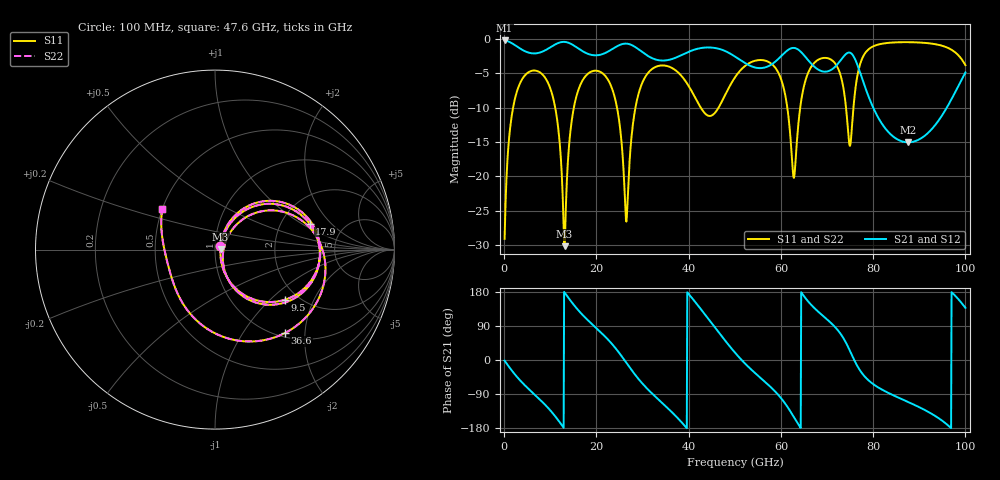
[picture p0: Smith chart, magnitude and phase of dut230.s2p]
! Touchstone file exported from HFSS 2026.1.0
!  File:  C:/ffzhzh/LocalFiles/Ansys_Project_Files/temp_train_TSV_RDL_230_1783664768_26216.aedt
!  Generated:  02:56:59 PM Jul 10, 2026
!  Design:  TSV_RDL
!  Project:  temp_train_TSV_RDL_230_1783664768_26216
! Variables:
!  h_bsmrdl = 2.84um
!  h_ox = 20um
!  h_rdl = 5um
!  h_sub = 99.8um
!  h_tmrdl = 3.88um
!  h_tsv = 99.8um
!  h_via = 3um
!  l_bsmrdl = 540.43um
!  l_sub = 4444.31um
!  l_tmrdl = 580.87um
!  m_sub = 200um
!  pitch = 47.77um
!  r_tsv = 7.21um
!  s_tmrdl = 10um
!  w_bsmrdl = 10.69um
!  w_sub = 500um
!  w_tmrdl = 22.49um
!  x_tsv_center1 = 592.115um
!  x_tsv_center2 = 1143.235um
!  x_tsv_center3 = 1746.595um
!  x_tsv_center4 = 2297.715um
!  x_tsv_center5 = 2901.075um
!  x_tsv_center6 = 3452.195um
# GHz S MA R 50.000000
! Terminal data exported
! Port[1] = TM_RDL1_1_T1
! Port[2] = TM_RDL5_1_T1
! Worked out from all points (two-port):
!   1000 points, 100 MHz to 100 GHz, reference 50 ohm
!   highest |S21| = -0.26 dB at 100 MHz (marker M1); lowest = -15.1 dB at 87.6 GHz (marker M2)
!   |S21| within 3 dB of the highest: start of sweep to 51.54 GHz; 58.92 GHz to 66.09 GHz (7.169 GHz wide, 11.5 % of centre) (the widest 2 of 3)
!   lowest |S11| = -30.1 dB at 13.1 GHz (marker M3), VSWR 1.06, Z = 53.2 + j0.191 ohm
!   |S11| at or under -10 dB: 11.07 GHz to 15.12 GHz (4.051 GHz wide, 30.9 % of centre); 24.47 GHz to 28.47 GHz (4.004 GHz wide, 15.1 % of centre); 42.61 GHz to 46.5 GHz (3.892 GHz wide, 8.73 % of centre) (the widest 3 of 6)
!   |S22| runs from -30.2 to -0.5 dB; largest |S21 - S12| = 4.1e-14
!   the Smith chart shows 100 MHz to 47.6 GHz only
!   S11 on the Smith chart (normalised r, x): 100 MHz: 1.06, +0.04; 9.5 GHz: 1.70, -1.24; 17.9 GHz: 2.86, +1.18; 36.6 GHz: 1.08, -1.58; 47.6 GHz: 0.50, +0.26
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0.1  0.0352 30.7  0.9701 -1.8  0.9701 -1.8  0.0352 30.7
! Gamma 0 0 0 0
! Port Impedance 50 0 50 0
2.9  0.4263 39.5  0.8719 -46.2  0.8719 -46.2  0.4263 39.5
9.5  0.4786 -35.8  0.8444 -126.0  0.8444 -126.0  0.4786 -35.8
13.1  0.03114 3.3  0.947 178.0  0.947 178.0  0.03103 3.3
16.8  0.4835 28.0  0.8186 121.6  0.8186 121.6  0.4834 28.0
17.9  0.5461 15.4  0.7822 108.0  0.7822 108.0  0.5461 15.4
23.5  0.4242 -46.4  0.8422 40.6  0.8422 40.6  0.4242 -46.3
26.1  0.07994 -56.3  0.9196 -0.5  0.9196 -0.5  0.08 -56.2
33.4  0.6331 -15.2  0.6981 -103.6  0.6981 -103.6  0.6331 -15.2
36.6  0.6068 -49.9  0.7151 -140.5  0.7151 -140.5  0.6068 -49.9
41.6  0.3634 -116.7  0.8388 150.4  0.8388 150.4  0.3634 -116.7
47.6  0.3713 142.2  0.8215 56.1  0.8215 56.1  0.3713 142.2
50.1  0.5267 104.9  0.7391 18.7  0.7391 18.7  0.5267 104.9
60.4  0.4656 -8.4  0.7658 -106.3  0.7658 -106.3  0.4654 -8.5
62.8  0.09755 27.3  0.8567 -150.3  0.8567 -150.3  0.09635 27.3
66.7  0.6333 48.5  0.6519 143.9  0.6519 143.9  0.6333 48.6
71.2  0.6914 6.4  0.6027 93.7  0.6027 93.7  0.6915 6.5
75.3  0.205 48.2  0.7791 15.5  0.7791 15.5  0.2056 48.1
77.6  0.7151 43.1  0.5153 -35.1  0.5153 -35.1  0.7151 43.1
83.4  0.9325 -0.4  0.2082 -87.5  0.2082 -87.5  0.9325 -0.4
87.6  0.9426 -21.2  0.1768 -110.9  0.1768 -110.9  0.9426 -21.2
100  0.642 -123.1  0.5678 137.7  0.5678 137.7  0.6418 -123.1
